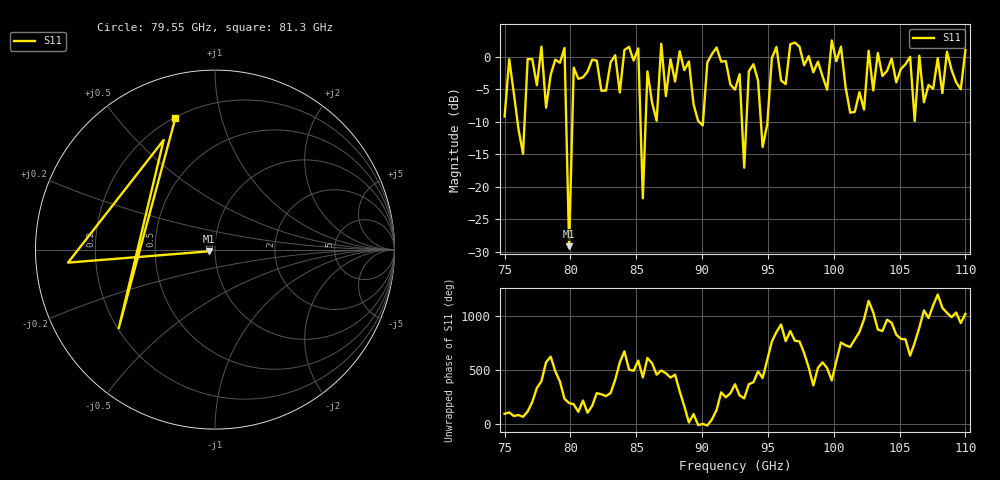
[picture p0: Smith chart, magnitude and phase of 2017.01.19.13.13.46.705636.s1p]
!Created with skrf (http://scikit-rf.org).
# GHz S RI R 50.0
!freq ReS11 ImS11
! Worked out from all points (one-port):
!   101 points, 75 GHz to 110 GHz, reference 50 ohm
!   lowest |S11| = -29.1 dB at 79.9 GHz (marker M1), VSWR 1.07, Z = 46.7 - j0.904 ohm
!   |S11| at or under -10 dB: 75.98 GHz to 76.52 GHz (539.2 MHz wide, 0.707 % of centre); 79.68 GHz to 80.14 GHz (463.9 MHz wide, 0.581 % of centre); 94.47 GHz to 94.96 GHz (497.3 MHz wide, 0.525 % of centre) (the widest 3 of 6)
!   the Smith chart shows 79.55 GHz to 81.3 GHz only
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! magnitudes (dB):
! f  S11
! 75 GHz  -9.2
! 75.35 GHz  -0.4
! 76.4 GHz  -14.9
! 76.75 GHz  -0.4
! 79.55 GHz  1.3
! 79.9 GHz  -29.1
! 80.25 GHz  -1.7
! 83.75 GHz  -5.5
! 85.15 GHz  1.3
! 85.5 GHz  -21.8
! 85.85 GHz  -2.3
! 86.55 GHz  -9.9
! 86.9 GHz  2.0
! 88.3 GHz  0.8
! 90.05 GHz  -10.6
! 91.1 GHz  1.4
! 92.5 GHz  -5.1
! 92.85 GHz  -2.7
! 93.2 GHz  -17.1
! 93.55 GHz  -2.3
! 94.6 GHz  -13.9
! 95.3 GHz  -0.2
! 97.05 GHz  2.1
! 101.2 GHz  -8.6
! 105.8 GHz  0.0
! 106.2 GHz  -9.9
! 106.5 GHz  0.1
! 110 GHz  1.0
